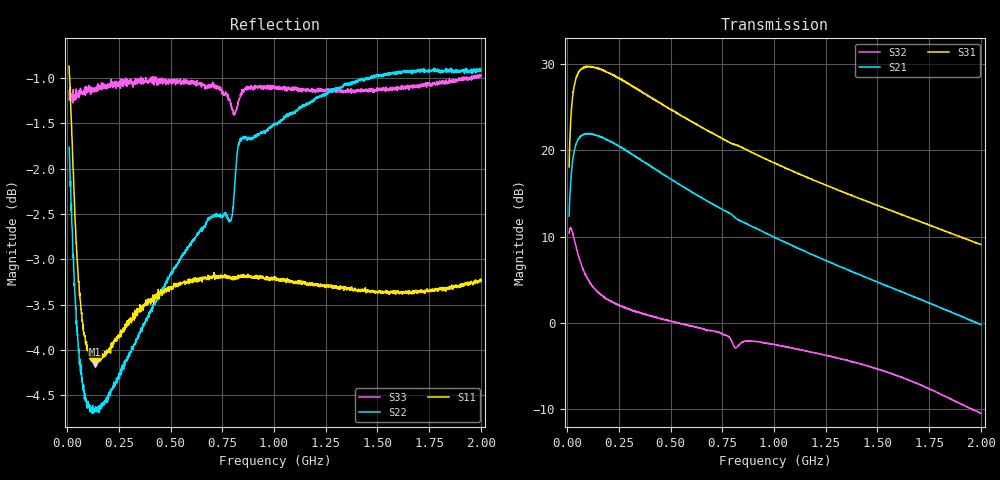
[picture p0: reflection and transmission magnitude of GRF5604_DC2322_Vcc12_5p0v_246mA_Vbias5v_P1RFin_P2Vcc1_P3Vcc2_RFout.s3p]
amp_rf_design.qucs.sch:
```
<Qucs Schematic 25.2.0>
<Properties>
  <View=-907,-927,3532,1486,0.606659,0,0>
  <Grid=10,10,1>
  <DataSet=Input_frontend.qucs.dat>
  <DataDisplay=Input_frontend.qucs.dpl>
  <OpenDisplay=0>
  <Script=Input_frontend.m>
  <RunScript=0>
  <showFrame=0>
  <FrameText0=Title>
  <FrameText1=Drawn By:>
  <FrameText2=Date:>
  <FrameText3=Revision:>
</Properties>
<Symbol>
</Symbol>
<Components>
  <.SP SP1 1 40 -50 0 50 0 0 "lin" 1 "400 MHz" 1 "500 MHz" 1 "500" 1 "no" 0 "1" 0 "2" 0 "no" 0 "no" 0>
  <SUBST Subst1 1 410 10 -30 24 0 0 "4.4" 1 "0.2104" 1 "35 um" 1 "0.02" 1 "1.68e-8" 1 "0.15e-6" 1>
  <GND * 1 740 480 0 0 0 0>
  <GND * 1 410 440 0 0 0 0>
  <Pac P1 1 410 390 18 -26 0 1 "1" 1 "50 Ohm" 1 "0 dBm" 1 "440 MHz" 0 "26.85" 0 "true" 0>
  <GND * 1 1120 250 0 0 0 0>
  <C C1 1 1170 420 17 -26 0 1 "33pF" 1 "" 0 "neutral" 0>
  <GND * 1 1170 460 0 0 0 0>
  <L L1 1 1170 310 10 -26 0 1 "23nH" 1 "" 0>
  <L L2 1 1320 340 -26 10 0 0 "2.2nH" 1 "" 0>
  <C C2 1 1450 370 17 -26 0 1 "27pF" 1 "" 0 "neutral" 0>
  <C C3 1 1640 340 -26 -49 1 0 "100pF" 1 "" 0 "neutral" 0>
  <GND * 1 1450 400 0 0 0 0>
  <L L3 1 1000 80 10 -26 0 1 "20nH" 1 "" 0>
  <C C4 1 930 70 17 -26 0 1 "33pF" 1 "" 0 "neutral" 0>
  <GND * 1 930 100 0 0 0 0>
  <C C5 1 1230 70 17 -26 0 1 "1nF" 1 "" 0 "neutral" 0>
  <C C6 1 1310 70 17 -26 0 1 "10uF" 1 "" 0 "neutral" 0>
  <GND * 1 1310 110 0 0 0 0>
  <Pac P2 1 1830 390 18 -26 0 1 "2" 1 "50 Ohm" 1 "0 dBm" 1 "1 MHz" 0 "26.85" 0 "true" 0>
  <GND * 1 1830 430 0 0 0 0>
  <CAPQ CQ1 1 591 340 -26 -65 1 0 "4.7pF" 1 "100" 1 "100 MHz" 0 "Linear" 0 "26.85" 0>
  <INDQ LQ1 1 740 450 17 -26 0 1 "10nH" 1 "100" 1 "100 MHz" 0 "Linear" 0 "26.85" 0>
  <CAPQ CQ2 1 851 340 -26 -65 1 0 "56pF" 1 "100" 1 "100 MHz" 0 "Linear" 0 "26.85" 0>
  <SPfile X1 1 1030 250 -1141 -26 0 1 "/Users/fredericdruppel/Documents/Projects/2026-02-19_Linear_RF_PA/sim/GRF5604_S3P/GRF5604_DC2322_Vcc12_5p0v_246mA_Vbias5v_P1RFin_P2Vcc1_P3Vcc2_RFout.s3p" 0 "rectangular" 0 "linear" 0 "open" 0 "3" 0>
  <C C7 1 1450 310 17 -26 0 1 "1.8pF" 1 "" 0 "neutral" 0>
  <GND * 1 1450 280 0 -16 0 2>
  <CLIN CL2 1 670 340 -26 28 0 0 "Subst1" 1 "CPW_Width" 1 "CPW_Space" 1 "0.5mm" 1 "Air" 0 "yes" 0>
  <CLIN CL3 1 790 340 -26 28 0 0 "Subst1" 1 "CPW_Width" 1 "CPW_Space" 1 "0.5mm" 1 "Air" 0 "yes" 0>
  <CLIN CL4 1 910 340 -26 28 0 0 "Subst1" 1 "CPW_Width" 1 "CPW_Space" 1 "1mm" 1 "Air" 0 "yes" 0>
  <CLIN CL5 1 1090 340 -26 28 0 0 "Subst1" 1 "CPW_Width" 1 "CPW_Space" 1 "1mm" 1 "Air" 0 "yes" 0>
  <CLIN CL6 1 1250 340 -26 28 0 0 "Subst1" 1 "CPW_Width" 1 "CPW_Space" 1 "0.5mm" 1 "Air" 0 "yes" 0>
  <CLIN CL7 1 1390 340 -26 28 0 0 "Subst1" 1 "CPW_Width" 1 "CPW_Space" 1 "0.5mm" 1 "Air" 0 "yes" 0>
  <CLIN CL8 1 1550 340 -26 28 0 0 "Subst1" 1 "CPW_Width" 1 "CPW_Space" 1 "0.5mm" 1 "Air" 0 "yes" 0>
  <Eqn Eqn2 1 640 40 -23 14 0 0 "TL_Width=0.3421" 1 "yes" 0>
  <MLIN MS1 1 530 340 -26 15 0 0 "Subst1" 1 "TL_Width" 1 "15 mm" 1 "Hammerstad" 0 "Kirschning" 0 "26.85" 0 "DC" 0>
  <MLIN MS2 1 1700 340 -26 15 0 0 "Subst1" 1 "TL_Width" 1 "15 mm" 1 "Hammerstad" 0 "Kirschning" 0 "26.85" 0 "DC" 0>
  <Eqn Eqn1 1 630 -90 -23 14 0 0 "CPW_Width=0.3421" 1 "CPW_Space=0.5" 1 "yes" 0>
</Components>
<Wires>
  <410 340 410 360 "" 0 0 0 "">
  <410 420 410 440 "" 0 0 0 "">
  <410 340 500 340 "" 0 0 0 "">
  <1090 250 1120 250 "" 0 0 0 "">
  <1000 280 1000 340 "" 0 0 0 "">
  <1120 340 1170 340 "" 0 0 0 "">
  <930 40 1000 40 "" 0 0 0 "">
  <1230 100 1310 100 "" 0 0 0 "">
  <1310 100 1310 110 "" 0 0 0 "">
  <1230 40 1310 40 "" 0 0 0 "">
  <1000 40 1000 50 "" 0 0 0 "">
  <1000 40 1170 40 "" 0 0 0 "">
  <940 340 1000 340 "" 0 0 0 "">
  <740 340 740 420 "" 0 0 0 "">
  <700 340 740 340 "" 0 0 0 "">
  <621 340 640 340 "" 0 0 0 "">
  <740 340 760 340 "" 0 0 0 "">
  <1830 420 1830 430 "" 0 0 0 "">
  <560 340 561 340 "" 0 0 0 "">
  <820 340 821 340 "" 0 0 0 "">
  <880 340 881 340 "" 0 0 0 "">
  <1000 110 1000 220 "" 0 0 0 "">
  <1060 280 1060 340 "" 0 0 0 "">
  <1170 340 1220 340 "" 0 0 0 "">
  <1280 340 1290 340 "" 0 0 0 "">
  <1170 450 1170 460 "" 0 0 0 "">
  <1170 340 1170 390 "" 0 0 0 "">
  <1420 340 1450 340 "" 0 0 0 "">
  <1350 340 1360 340 "" 0 0 0 "">
  <1580 340 1610 340 "" 0 0 0 "">
  <1450 340 1520 340 "" 0 0 0 "">
  <1830 340 1830 360 "" 0 0 0 "">
  <1170 40 1170 280 "" 0 0 0 "">
  <1170 40 1230 40 "" 0 0 0 "">
  <1730 340 1830 340 "" 0 0 0 "">
</Wires>
<Diagrams>
  <Smith 420 790 200 200 3 #c0c0c0 1 00 1 0 1 1 1 0 4 52.1369 1 0 1 1 315 0 225 1 0 0 "" "" "">
	<"S[2,1]" #ff0000 0 3 0 0 0>
	  <Mkr 4.39679e+08 208 -18 3 0 0>
  </Smith>
  <Rect 860 790 240 160 3 #c0c0c0 1 01 1 3e+08 5e+07 5e+08 1 0.1 1 100 1 -1 1 1 315 0 225 1 1 0 "" "" "">
	<"S[1,1]" #0000ff 0 3 0 0 0>
	  <Mkr 4.39679e+08 -4 -232 3 0 0>
	<"S[2,1]" #ff0000 0 3 0 0 0>
	  <Mkr 4.4008e+08 141 -232 3 0 0>
	<"S[2,2]" #ff00ff 0 3 0 0 0>
	<"S[1,1]" #0000ff 0 3 0 0 0>
  </Rect>
  <Smith 130 780 200 200 3 #c0c0c0 1 00 1 0 1 1 1 0 4 1 1 0 1 1 315 0 225 1 0 0 "" "" "">
	<"S[1,1]" #0000ff 1 3 0 0 0>
	  <Mkr 4.4008e+08 120 -250 3 0 0>
	<"S[2,2]" #ff0000 1 3 0 0 0>
	  <Mkr 4.4008e+08 -149 -263 3 0 0>
  </Smith>
</Diagrams>
<Paintings>
</Paintings>
```
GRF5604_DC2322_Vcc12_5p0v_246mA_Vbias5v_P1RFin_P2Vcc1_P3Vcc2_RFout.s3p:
!Keysight Technologies,N5244B,MY57181157,A.18.40.03
!Date: Wednesday, September 10, 2025 10:25:03
!Correction: S11(C  3-Port  )
!S12(C  3-Port  )
!S13(C  3-Port  )
!S21(C  3-Port  )
!S22(C  3-Port  )
!S23(C  3-Port  )
!S31(C  3-Port  )
!S32(C  3-Port  )
!S33(C  3-Port  )
!S3P File: Measurements: <S11,S12,S13>,
!<S21,S22,S23>,
!<S31,S32,S33>:
# Hz S  RI  R 50
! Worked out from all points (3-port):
!   1991 points, 10 MHz to 2 GHz, reference 50 ohm
!   strongest paths, dB at 10 MHz, 507 MHz, 1.005 GHz, 1.503 GHz, 2 GHz:
!     S31: 18.1, 24.6, 18.5, 13.6, 9.1
!     S21: 12.4, 16.6, 9.9, 4.7, -0.2
!     S32: 10.4, 0.1, -2.5, -5.4, -10.5
!   lowest |S11| = -4.2 dB at 136 MHz (marker M1), VSWR 4.26, Z = 41 - j71 ohm
!   |S11| at or under -10 dB: nowhere
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1e7  0.8895 -0.1651  0.0406 -0.0123  -0.000122 0.000313
     -1.768 -3.759  0.713 -0.3973  0.00342 -0.00887
     -1.507 7.875  -3.061 -1.241  -0.2526 -0.8291
6e7  0.5397 -0.4071  0.0144 -0.0159  0.000119 -6.62e-05
     -11.45 -2.769  -0.1988 -0.5872  0.00329 0.00267
     27.04 9.821  -1.96 1.283  -0.8472 -0.2257
1.36e8  0.3172 -0.5327  0.00817 -0.00747  0.000118 1.81e-05
        -11.64 3.813  -0.4588 -0.3609  0.00623 0.0044
        28.99 -8.482  -1.213 0.9907  -0.8732 -0.1127
6.61e8  -0.4735 -0.5039  0.00936 -0.000536  -0.000452 0.0011
        0.8456 5.155  -0.7306 -0.1015  0.0126 0.00607
        -3.749 -12.86  -0.3323 0.8607  -0.8826 -0.0379
2e9  -0.6879 0.0486  0.00804 0.0023  0.000452 0.00466
     0.9625 0.1619  -0.8068 0.3984  0.00989 0.00987
     -2.664 0.9908  0.2326 0.1882  -0.8823 0.1393
